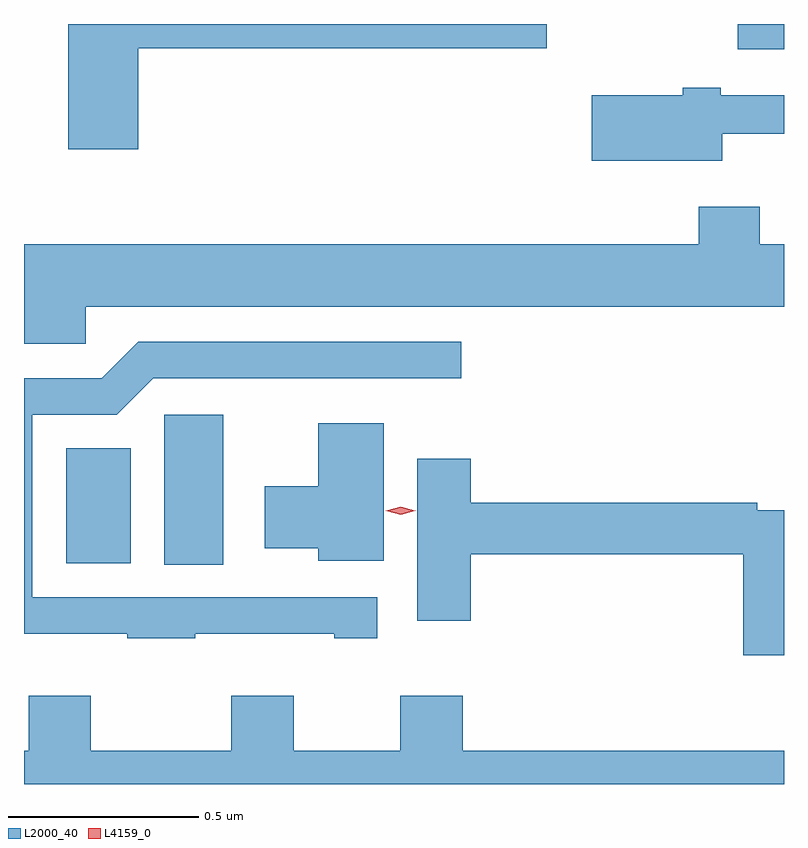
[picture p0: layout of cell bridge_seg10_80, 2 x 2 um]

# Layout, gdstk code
import gdstk
lib = gdstk.Library(unit=1e-6, precision=1e-09)
def R(c, l, rs):  # rectangles x0, y0, x1, y1
    for r in rs: c.add(gdstk.rectangle(r[:2], r[2:], *l))
def P(c, l, *ps):  # polygons
    for p in ps: c.add(gdstk.Polygon(p, *l))
L2000_40 = (2000, 40)
L4159_0 = (4159, 0)

bridge_seg10_80 = lib.new_cell('bridge_seg10_80')
R(bridge_seg10_80, L2000_40, [(675.296,1300.969,675.451,1301.364), (675.038,1300.973,675.208,1301.275), (676.805,1302.326,676.927,1302.392)])
P(bridge_seg10_80, L2000_40, [(675.227,1302.328),(676.302,1302.328),(676.302,1302.392),(675.044,1302.392),(675.044,1302.063),(675.227,1302.063)],
  [(676.765,1302.103),(676.927,1302.103),(676.927,1302.204),(676.761,1302.204),(676.761,1302.224),(676.661,1302.224),(676.661,1302.205),(676.421,1302.205),(676.421,1302.032),(676.765,1302.032)],
  [(675.09,1301.648),(676.927,1301.648),(676.927,1301.812),(676.863,1301.812),(676.863,1301.911),(676.703,1301.911),(676.703,1301.812),(674.927,1301.812),(674.927,1301.55),(675.09,1301.55)],
  [(675.377,1300.787),(675.743,1300.787),(675.743,1300.776),(675.856,1300.776),(675.856,1300.884),(674.949,1300.884),(674.949,1301.364),(675.171,1301.364),(675.267,1301.46),(676.078,1301.46),(676.078,1301.556),(675.228,1301.556),(675.132,1301.46),(674.927,1301.46),(674.927,1300.787),(675.199,1300.787),(675.199,1300.776),(675.377,1300.776)],
  [(675.874,1301.341),(675.701,1301.341),(675.701,1301.176),(675.561,1301.176),(675.561,1301.012),(675.701,1301.012),(675.701,1300.979),(675.874,1300.979)],
  [(676.927,1301.112),(676.856,1301.112),(676.856,1301.132),(676.103,1301.132),(676.103,1301.248),(675.962,1301.248),(675.962,1300.821),(676.103,1300.821),(676.103,1300.996),(676.82,1300.996),(676.82,1300.731),(676.927,1300.731)],
  [(676.927,1300.48),(676.081,1300.48),(676.081,1300.624),(675.917,1300.624),(675.917,1300.48),(675.637,1300.48),(675.637,1300.624),(675.473,1300.624),(675.473,1300.48),(675.103,1300.48),(675.103,1300.624),(674.939,1300.624),(674.939,1300.48),(674.927,1300.48),(674.927,1300.392),(676.927,1300.392)])
P(bridge_seg10_80, L4159_0, [(675.918,1301.101),(675.879,1301.111),(675.879,1301.111),(675.879,1301.111),(675.918,1301.121),(675.957,1301.111),(675.958,1301.111),(675.957,1301.111)])

lib.write_gds('bridge_seg10_80.gds')
